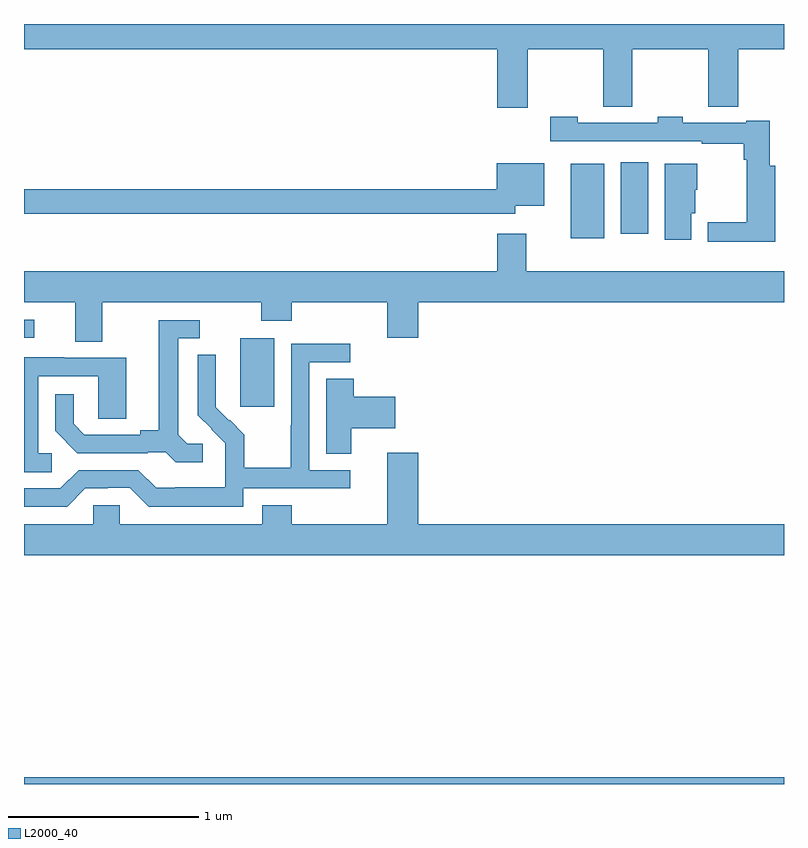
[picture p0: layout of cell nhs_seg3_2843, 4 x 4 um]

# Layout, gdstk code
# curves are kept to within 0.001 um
import gdstk
lib = gdstk.Library(unit=1e-6, precision=1e-09)
def R(c, l, rs):  # rectangles x0, y0, x1, y1
    for r in rs: c.add(gdstk.rectangle(r[:2], r[2:], *l))
def P(c, l, *ps):  # polygons
    for p in ps: c.add(gdstk.Polygon(p, *l))
L2000_40 = (2000, 40)

nhs_seg3_2843 = lib.new_cell('nhs_seg3_2843')
R(nhs_seg3_2843, L2000_40, [(259,678.4,263,678.436), (260.138,680.385,260.317,680.746), (259,680.748,259.054,680.844), (261.878,681.272,262.054,681.664), (262.142,681.297,262.285,681.673)])
P(nhs_seg3_2843, L2000_40, [(261.651,682.268),(262.048,682.268),(262.048,681.964),(262.202,681.964),(262.202,682.268),(262.6,682.268),(262.6,681.964),(262.76,681.964),(262.76,682.268),(263,682.268),(263,682.4),(259,682.4),(259,682.268),(261.491,682.268),(261.491,681.96),(261.651,681.96)],
  [(262.955,681.655),(262.925,681.655),(262.925,681.892),(262.802,681.892),(262.802,681.879),(262.467,681.879),(262.467,681.912),(262.335,681.912),(262.335,681.879),(261.915,681.879),(261.915,681.912),(261.771,681.912),(261.771,681.783),(262.567,681.783),(262.567,681.771),(262.789,681.771),(262.789,681.686),(262.804,681.686),(262.804,681.356),(262.599,681.356),(262.599,681.254),(262.955,681.254)],
  [(261.586,681.443),(261.739,681.443),(261.739,681.667),(261.488,681.667),(261.488,681.53),(259,681.53),(259,681.402),(261.586,681.402)],
  [(262.513,681.405),(262.534,681.405),(262.534,681.528),(262.543,681.528),(262.543,681.664),(262.373,681.664),(262.373,681.264),(262.513,681.264)],
  [(259.411,680.936),(260.248,680.936),(260.248,680.837),(260.408,680.837),(260.408,680.936),(260.912,680.936),(260.912,680.748),(261.076,680.748),(261.076,680.936),(263,680.936),(263,681.1),(261.643,681.1),(261.643,681.295),(261.491,681.295),(261.491,681.1),(259,681.1),(259,680.936),(259.271,680.936),(259.271,680.728),(259.411,680.728)],
  [(259.942,680.19),(259.86,680.19),(259.813,680.237),(259.813,680.745),(259.924,680.745),(259.924,680.841),(259.709,680.841),(259.709,680.261),(259.613,680.261),(259.613,680.238),(259.318,680.238),(259.261,680.295),(259.261,680.452),(259.164,680.452),(259.164,680.258),(259.28,680.142),(259.652,680.142),(259.652,680.145),(259.746,680.145),(259.798,680.093),(259.942,680.093)],
  [(260.154,679.956),(260.716,679.956),(260.716,680.052),(260.502,680.052),(260.502,680.619),(260.716,680.619),(260.716,680.718),(260.406,680.718),(260.406,680.288),(260.404,680.288),(260.404,680.065),(260.159,680.065),(260.159,680.239),(260.082,680.316),(260.079,680.313),(260.009,680.384),(260.01,680.66),(259.914,680.66),(259.914,680.342),(260.06,680.194),(260.06,680.097),(260.058,680.097),(260.058,679.963),(259.795,679.963),(259.795,679.959),(259.695,679.959),(259.602,680.052),(259.287,680.052),(259.191,679.956),(259,679.956),(259,679.86),(259.227,679.86),(259.323,679.956),(259.442,679.956),(259.442,679.959),(259.557,679.959),(259.657,679.859),(260.154,679.859)],
  [(259.147,680.142),(259.074,680.142),(259.074,680.547),(259.392,680.547),(259.392,680.323),(259.537,680.323),(259.537,680.643),(259.213,680.643),(259.213,680.647),(259,680.647),(259,680.041),(259.147,680.041)],
  [(260.722,680.273),(260.953,680.273),(260.953,680.439),(260.735,680.439),(260.735,680.534),(260.591,680.534),(260.591,680.137),(260.722,680.137)],
  [(263,679.768),(261.076,679.768),(261.076,680.143),(260.912,680.143),(260.912,679.768),(260.408,679.768),(260.408,679.867),(260.255,679.867),(260.255,679.768),(259.503,679.768),(259.503,679.866),(259.365,679.866),(259.365,679.768),(259,679.768),(259,679.604),(263,679.604)])

lib.write_gds('nhs_seg3_2843.gds')
